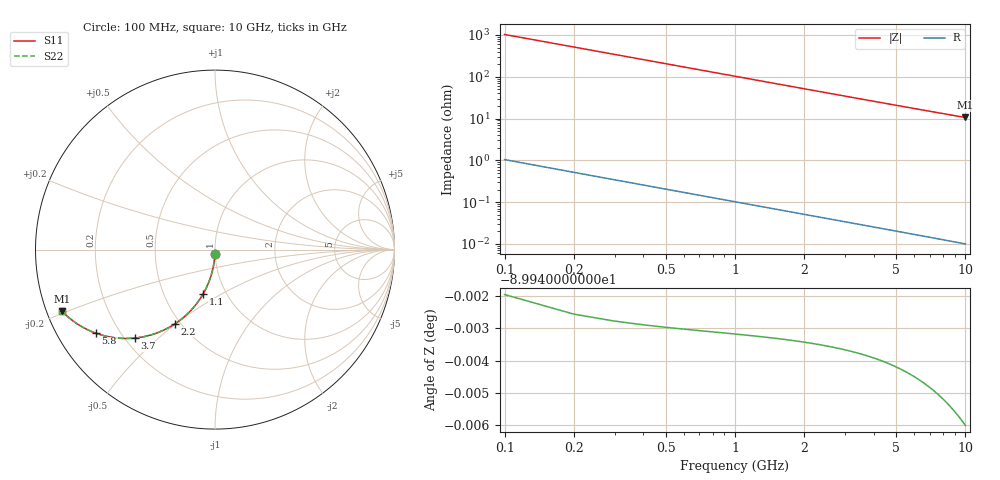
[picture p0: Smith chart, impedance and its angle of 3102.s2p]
# Hz S RI R 50.00
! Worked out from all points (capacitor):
!   100 points, 100 MHz to 10 GHz, reference 50 ohm
!   read as one part in shunt: C = 1.55 pF near 100 MHz
!   lowest |Z| = 10.6 ohm at 10 GHz (marker M1)
!   S11 on the Smith chart (normalised r, x): 100 MHz: 1.00, -0.05; 1.1 GHz: 0.78, -0.41; 2.2 GHz: 0.47, -0.50; 3.7 GHz: 0.24, -0.42; 5.8 GHz: 0.12, -0.31; 10 GHz: 0.04, -0.19
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1e8  -0.000595 -0.0242  0.9994 -0.0244  0.9994 -0.0244  -0.000595 -0.0242
2e8  -0.00238 -0.0482  0.9976 -0.0486  0.9976 -0.0486  -0.00238 -0.0482
3e8  -0.00533 -0.0721  0.9946 -0.0728  0.9946 -0.0728  -0.00533 -0.0721
4e8  -0.00942 -0.0958  0.9905 -0.0966  0.9905 -0.0966  -0.00942 -0.0958
5e8  -0.0146 -0.1191  0.9853 -0.1201  0.9853 -0.1201  -0.0146 -0.1191
6e8  -0.0209 -0.142  0.9791 -0.1432  0.9791 -0.1432  -0.0209 -0.142
7e8  -0.0282 -0.1644  0.9718 -0.1658  0.9718 -0.1658  -0.0282 -0.1644
9e8  -0.0457 -0.2074  0.9543 -0.2093  0.9543 -0.2093  -0.0457 -0.2074
1.1e9  -0.0667 -0.2479  0.9333 -0.2502  0.9333 -0.2502  -0.0667 -0.2479
1.4e9  -0.1036 -0.3028  0.8964 -0.3057  0.8964 -0.3057  -0.1036 -0.3028
1.8e9  -0.1602 -0.3644  0.8398 -0.3682  0.8398 -0.3682  -0.1602 -0.3644
2.2e9  -0.2215 -0.4125  0.7784 -0.4171  0.7784 -0.4171  -0.2215 -0.4125
2.8e9  -0.3151 -0.4611  0.6849 -0.467  0.6849 -0.467  -0.3151 -0.4611
3.4e9  -0.4037 -0.4866  0.5962 -0.4937  0.5962 -0.4937  -0.4037 -0.4866
3.7e9  -0.4448 -0.4925  0.5551 -0.5004  0.5551 -0.5004  -0.4448 -0.4925
4.4e9  -0.5308 -0.4939  0.4691 -0.5032  0.4691 -0.5032  -0.5308 -0.4939
5.1e9  -0.6028 -0.4834  0.3971 -0.4942  0.3971 -0.4942  -0.6028 -0.4834
5.8e9  -0.6623 -0.4662  0.3376 -0.4786  0.3376 -0.4786  -0.6623 -0.4662
6.7e9  -0.7233 -0.4396  0.2765 -0.454  0.2765 -0.454  -0.7233 -0.4396
7.5e9  -0.7661 -0.4146  0.2338 -0.4309  0.2338 -0.4309  -0.7661 -0.4146
8.4e9  -0.8042 -0.3871  0.1956 -0.4054  0.1956 -0.4054  -0.8042 -0.3871
1e10  -0.8535 -0.342  0.1462 -0.364  0.1462 -0.364  -0.8535 -0.342
